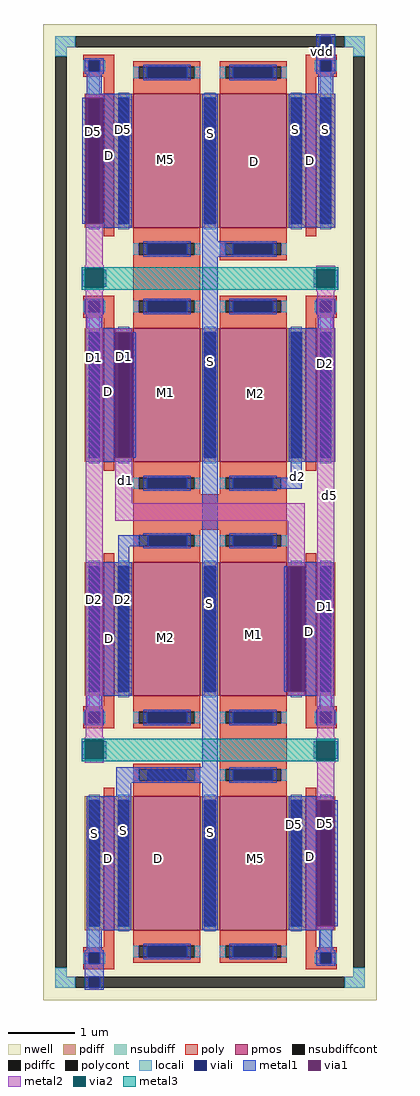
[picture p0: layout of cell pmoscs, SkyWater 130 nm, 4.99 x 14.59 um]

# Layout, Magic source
magic
tech sky130A
magscale 1 2
<< nwell >>
rect -179 -1003 819 1915
<< pdiff >>
rect -52 1306 86 1706
<< nsubdiff >>
rect -143 1845 -83 1879
rect 723 1845 783 1879
rect -143 1819 -109 1845
rect 749 1819 783 1845
rect -143 -933 -109 -907
rect 749 -933 783 -907
rect -143 -967 -83 -933
rect 723 -967 783 -933
<< nsubdiffcont >>
rect -83 1845 723 1879
rect -143 -907 -109 1819
rect 749 -907 783 1819
rect -83 -967 723 -933
<< poly >>
rect -59 1807 33 1823
rect -59 1773 -43 1807
rect -9 1773 33 1807
rect -59 1757 33 1773
rect 3 1732 33 1757
rect 607 1807 699 1823
rect 607 1773 649 1807
rect 683 1773 699 1807
rect 607 1757 699 1773
rect 607 1732 637 1757
rect 91 1103 291 1209
rect -59 1087 33 1103
rect -59 1053 -43 1087
rect -9 1053 33 1087
rect -59 1037 33 1053
rect 3 1032 33 1037
rect 607 1087 699 1103
rect 607 1053 649 1087
rect 683 1053 699 1087
rect 607 1037 699 1053
rect 607 1032 637 1037
rect 91 403 549 509
rect 3 -125 33 -120
rect -59 -141 33 -125
rect -59 -175 -43 -141
rect -9 -175 33 -141
rect -59 -191 33 -175
rect 607 -125 637 -120
rect 607 -141 699 -125
rect 607 -175 649 -141
rect 683 -175 699 -141
rect 607 -191 699 -175
rect 349 -297 549 -191
rect 3 -845 33 -820
rect -59 -861 33 -845
rect -59 -895 -43 -861
rect -9 -895 33 -861
rect -59 -911 33 -895
rect 607 -845 637 -820
rect 607 -861 699 -845
rect 607 -895 649 -861
rect 683 -895 699 -861
rect 607 -911 699 -895
<< polycont >>
rect -43 1773 -9 1807
rect 649 1773 683 1807
rect -43 1053 -9 1087
rect 649 1053 683 1087
rect -43 -175 -9 -141
rect 649 -175 683 -141
rect -43 -895 -9 -861
rect 649 -895 683 -861
<< locali >>
rect -143 1845 -83 1879
rect 723 1845 783 1879
rect -143 1819 -109 1845
rect 749 1819 783 1845
rect -59 1773 -43 1807
rect -9 1773 7 1807
rect 633 1773 649 1807
rect 683 1773 699 1807
rect -43 1710 -9 1773
rect 649 1706 683 1773
rect -59 1053 -43 1087
rect -9 1053 7 1087
rect 633 1053 649 1087
rect 683 1053 699 1087
rect -43 1010 -9 1053
rect 649 1010 683 1053
rect -43 -141 -9 -98
rect 649 -141 683 -98
rect -59 -175 -43 -141
rect -9 -175 7 -141
rect 633 -175 649 -141
rect 683 -175 699 -141
rect -43 -861 -9 -798
rect 649 -861 683 -798
rect -59 -895 -43 -861
rect -9 -895 7 -861
rect 633 -895 649 -861
rect 683 -895 699 -861
rect -143 -933 -109 -907
rect 749 -933 783 -907
rect -143 -967 -83 -933
rect 723 -967 783 -933
<< viali >>
rect 649 1845 683 1879
rect -43 1773 -9 1807
rect 649 1773 683 1807
rect -43 1053 -9 1087
rect 649 1053 683 1087
rect -43 -175 -9 -141
rect 649 -175 683 -141
rect -43 -895 -9 -861
rect 649 -895 683 -861
rect -43 -967 -9 -933
<< metal1 >>
rect 637 1879 695 1885
rect 637 1845 649 1879
rect 683 1845 695 1879
rect -55 1807 3 1813
rect -55 1773 -43 1807
rect -9 1773 3 1807
rect -55 1767 3 1773
rect 637 1807 695 1845
rect 637 1773 649 1807
rect 683 1773 695 1807
rect 637 1767 695 1773
rect -49 1757 -3 1767
rect -48 1706 -4 1757
rect 643 1707 689 1767
rect -52 1694 86 1706
rect -62 1318 -52 1694
rect 0 1318 86 1694
rect -52 1306 86 1318
rect 297 1265 343 1706
rect 556 1307 694 1707
rect 297 1219 378 1265
rect -62 1129 -52 1181
rect 0 1129 10 1181
rect -55 1087 3 1093
rect -55 1053 -43 1087
rect -9 1053 3 1087
rect -55 1047 3 1053
rect -49 1006 -3 1047
rect -52 994 86 1006
rect -52 618 36 994
rect 88 618 98 994
rect -52 606 86 618
rect 45 353 137 387
rect 45 306 79 353
rect -52 -94 86 306
rect -49 -135 -3 -94
rect -55 -141 3 -135
rect -55 -175 -43 -141
rect -9 -175 3 -141
rect -55 -181 3 -175
rect -62 -281 -52 -229
rect 0 -281 10 -229
rect 297 -307 343 1219
rect 630 1128 640 1180
rect 692 1128 702 1180
rect 637 1087 695 1093
rect 637 1053 649 1087
rect 683 1053 695 1087
rect 637 1047 695 1053
rect 643 1006 689 1047
rect 555 606 693 1006
rect 561 559 595 606
rect 510 525 595 559
rect 552 294 690 306
rect 542 -82 552 294
rect 604 -82 690 294
rect 552 -94 690 -82
rect 646 -125 686 -94
rect 643 -135 689 -125
rect 637 -141 695 -135
rect 637 -175 649 -141
rect 683 -175 695 -141
rect 637 -181 695 -175
rect 630 -282 640 -230
rect 692 -282 702 -230
rect 39 -353 343 -307
rect 39 -394 85 -353
rect -49 -794 85 -394
rect 297 -794 343 -353
rect 555 -406 689 -394
rect 555 -782 640 -406
rect 692 -782 702 -406
rect 555 -794 689 -782
rect -49 -855 -3 -794
rect 647 -845 685 -794
rect 643 -855 689 -845
rect -55 -861 3 -855
rect -55 -895 -43 -861
rect -9 -895 3 -861
rect -55 -933 3 -895
rect 637 -861 695 -855
rect 637 -895 649 -861
rect 683 -895 695 -861
rect 637 -901 695 -895
rect -55 -967 -43 -933
rect -9 -967 3 -933
rect -55 -973 3 -967
<< via1 >>
rect -52 1318 0 1694
rect -52 1129 0 1181
rect 36 618 88 994
rect -52 -281 0 -229
rect 640 1128 692 1180
rect 552 -82 604 294
rect 640 -282 692 -230
rect 640 -782 692 -406
<< metal2 >>
rect -52 1694 0 1704
rect -52 1193 0 1318
rect -54 1183 2 1193
rect -54 1117 2 1127
rect 638 1182 694 1192
rect -52 -217 0 1117
rect 638 1116 694 1126
rect 36 994 88 1004
rect 36 482 88 618
rect 36 430 604 482
rect 552 294 604 430
rect 552 -92 604 -82
rect -54 -227 2 -217
rect 640 -218 692 1116
rect -54 -293 2 -283
rect 638 -228 694 -218
rect 638 -294 694 -284
rect 640 -406 692 -294
rect 640 -792 692 -782
<< via2 >>
rect -54 1181 2 1183
rect -54 1129 -52 1181
rect -52 1129 0 1181
rect 0 1129 2 1181
rect -54 1127 2 1129
rect 638 1180 694 1182
rect 638 1128 640 1180
rect 640 1128 692 1180
rect 692 1128 694 1180
rect 638 1126 694 1128
rect -54 -229 2 -227
rect -54 -281 -52 -229
rect -52 -281 0 -229
rect 0 -281 2 -229
rect -54 -283 2 -281
rect 638 -230 694 -228
rect 638 -282 640 -230
rect 640 -282 692 -230
rect 692 -282 694 -230
rect 638 -284 694 -282
<< metal3 >>
rect -64 1183 704 1188
rect -64 1127 -54 1183
rect 2 1182 704 1183
rect 2 1127 638 1182
rect -64 1126 638 1127
rect 694 1126 704 1182
rect -64 1121 704 1126
rect -64 -227 704 -222
rect -64 -283 -54 -227
rect 2 -228 704 -227
rect 2 -283 638 -228
rect -64 -284 638 -283
rect 694 -284 704 -228
rect -64 -289 704 -284
use sky130_fd_pr__pfet_01v8_2ZH9AN  sky130_fd_pr__pfet_01v8_2ZH9AN_0
transform 1 0 622 0 1 806
box -109 -262 109 262
use sky130_fd_pr__pfet_01v8_2ZH9AN  sky130_fd_pr__pfet_01v8_2ZH9AN_1
transform 1 0 18 0 1 -594
box -109 -262 109 262
use sky130_fd_pr__pfet_01v8_2ZH9AN  sky130_fd_pr__pfet_01v8_2ZH9AN_2
transform 1 0 622 0 1 -594
box -109 -262 109 262
use sky130_fd_pr__pfet_01v8_2ZH9AN  sky130_fd_pr__pfet_01v8_2ZH9AN_3
transform 1 0 622 0 1 106
box -109 -262 109 262
use sky130_fd_pr__pfet_01v8_2ZH9AN  sky130_fd_pr__pfet_01v8_2ZH9AN_4
transform 1 0 18 0 1 106
box -109 -262 109 262
use sky130_fd_pr__pfet_01v8_2ZH9AN  sky130_fd_pr__pfet_01v8_2ZH9AN_5
transform 1 0 622 0 1 1506
box -109 -262 109 262
use sky130_fd_pr__pfet_01v8_2ZH9AN  sky130_fd_pr__pfet_01v8_2ZH9AN_6
transform 1 0 18 0 1 1506
box -109 -262 109 262
use sky130_fd_pr__pfet_01v8_2ZH9AN  sky130_fd_pr__pfet_01v8_2ZH9AN_7
transform 1 0 18 0 1 806
box -109 -262 109 262
use sky130_fd_pr__pfet_01v8_SDE6B7  sky130_fd_pr__pfet_01v8_SDE6B7_0
transform 1 0 320 0 1 1506
box -323 -300 323 300
use sky130_fd_pr__pfet_01v8_SDE6B7  sky130_fd_pr__pfet_01v8_SDE6B7_1
transform 1 0 320 0 1 806
box -323 -300 323 300
use sky130_fd_pr__pfet_01v8_SDE6B7  sky130_fd_pr__pfet_01v8_SDE6B7_2
transform 1 0 320 0 1 106
box -323 -300 323 300
use sky130_fd_pr__pfet_01v8_SDE6B7  sky130_fd_pr__pfet_01v8_SDE6B7_3
transform 1 0 320 0 1 -594
box -323 -300 323 300
<< labels >>
flabel nwell -27 1593 -27 1593 0 FreeSans 160 0 0 0 D5
flabel nwell 20 1521 22 1521 0 FreeSans 160 0 0 0 D
flabel nwell 60 1599 60 1599 0 FreeSans 160 0 0 0 D5
flabel nwell 188 1509 188 1509 0 FreeSans 160 0 0 0 M5
flabel nwell 320 1589 320 1589 0 FreeSans 160 0 0 0 S
flabel nwell 454 1505 454 1505 0 FreeSans 160 0 0 0 D
flabel nwell 576 1599 576 1599 0 FreeSans 160 0 0 0 S
flabel nwell 620 1507 620 1507 0 FreeSans 160 0 0 0 D
flabel nwell 666 1601 666 1601 0 FreeSans 160 0 0 0 S
flabel nwell -26 919 -26 919 0 FreeSans 160 0 0 0 D1
flabel nwell 16 817 16 817 0 FreeSans 160 0 0 0 D
flabel nwell 188 813 188 813 0 FreeSans 160 0 0 0 M1
flabel nwell 320 907 320 907 0 FreeSans 160 0 0 0 S
flabel nwell 456 811 456 811 0 FreeSans 160 0 0 0 M2
flabel nwell 664 901 664 901 0 FreeSans 160 0 0 0 D2
flabel nwell -26 193 -26 193 0 FreeSans 160 0 0 0 D2
flabel nwell 20 79 20 79 0 FreeSans 160 0 0 0 D
flabel nwell 60 195 60 195 0 FreeSans 160 0 0 0 D2
flabel nwell 188 81 188 81 0 FreeSans 160 0 0 0 M2
flabel nwell 318 181 318 181 0 FreeSans 160 0 0 0 S
flabel nwell 450 91 450 91 0 FreeSans 160 0 0 0 M1
flabel nwell 618 99 618 99 0 FreeSans 160 0 0 0 D
flabel nwell 666 173 666 173 0 FreeSans 160 0 0 0 D1
flabel nwell -24 -505 -24 -505 0 FreeSans 160 0 0 0 S
flabel nwell 18 -581 18 -581 0 FreeSans 160 0 0 0 D
flabel nwell 62 -495 62 -495 0 FreeSans 160 0 0 0 S
flabel nwell 166 -581 166 -581 0 FreeSans 160 0 0 0 D
flabel nwell 322 -503 322 -503 0 FreeSans 160 0 0 0 S
flabel nwell 456 -579 456 -579 0 FreeSans 160 0 0 0 M5
flabel nwell 574 -479 574 -479 0 FreeSans 160 0 0 0 D5
flabel nwell 620 -575 620 -575 0 FreeSans 160 0 0 0 D
flabel nwell 666 -475 666 -475 0 FreeSans 160 0 0 0 D5
flabel nwell 64 921 64 921 0 FreeSans 160 0 0 0 D1
flabel metal1 653 1830 662 1835 0 FreeSans 160 0 0 0 vdd
port 2 nsew
flabel metal2 62 548 71 553 0 FreeSans 160 0 0 0 d1
port 3 nsew
flabel metal1 577 559 586 564 0 FreeSans 160 0 0 0 d2
port 4 nsew
flabel metal2 672 504 681 509 0 FreeSans 160 0 0 0 d5
port 5 nsew
<< end >>

# cell sky130_fd_pr__pfet_01v8_2ZH9AN: kit device sky130_fd_pr__pfet_01v8, w 2 l 0.15 m 1 nf 1 diffcov 100 polycov 100 guard 0 glc 1 grc 1 gtc 1 gbc 1 tbcov 100 rlcov 100 topc 0 botc 0 poverlap 0 doverlap 1 lmin 0.15 wmin 0.42 compatible {sky130_fd_pr__pfet_01v8 sky130_fd_pr__pfet_01v8_lvt sky130_fd_pr__pfet_01v8_hvt sky130_fd_pr__pfet_g5v0d10v5} full_metal 1 viasrc 100 viadrn 100 viagate 100 viagb 0 viagr 0 viagl 0 viagt 0

# cell sky130_fd_pr__pfet_01v8_SDE6B7: kit device sky130_fd_pr__pfet_01v8, w 2 l 1 m 1 nf 2 diffcov 100 polycov 100 guard 0 glc 1 grc 1 gtc 1 gbc 1 tbcov 100 rlcov 100 topc 1 botc 1 poverlap 0 doverlap 1 lmin 0.15 wmin 0.42 compatible {sky130_fd_pr__pfet_01v8 sky130_fd_pr__pfet_01v8_lvt sky130_fd_pr__pfet_01v8_hvt sky130_fd_pr__pfet_g5v0d10v5} full_metal 1 viasrc 100 viadrn 100 viagate 70 viagb 0 viagr 0 viagl 0 viagt 0
